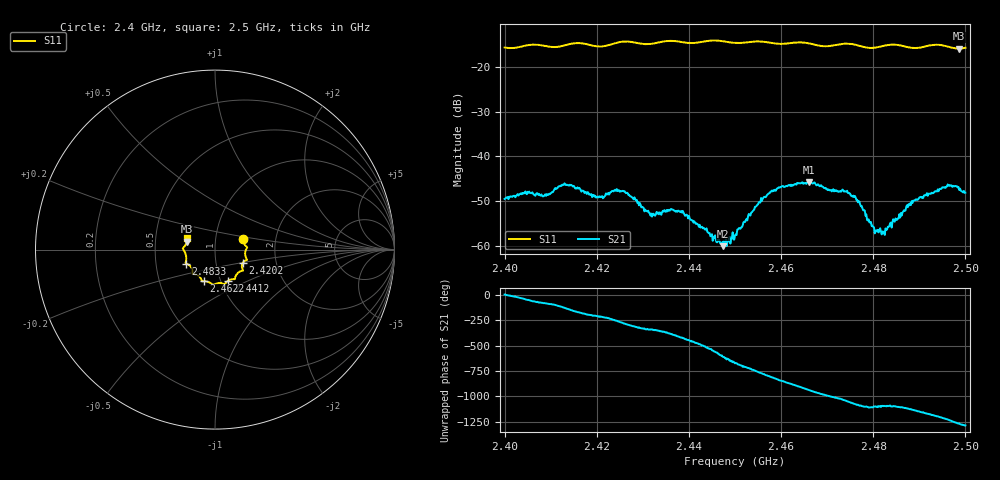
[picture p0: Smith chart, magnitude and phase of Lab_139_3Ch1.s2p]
# Hz S RI R 50
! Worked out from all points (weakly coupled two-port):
!   601 points, 2.4 GHz to 2.5 GHz, reference 50 ohm
!   highest |S21| = -45.76 dB at 2.466 GHz (marker M1); lowest = -60.1 dB at 2.4473 GHz (marker M2)
!   lowest |S11| = -15.8 dB at 2.4987 GHz (marker M3), VSWR 1.39, Z = 36.4 + j3.37 ohm
!   |S11| at or under -10 dB: start of sweep to end of sweep
!   S12 and S22 are empty: the file has one direction only
!   S11 on the Smith chart (normalised r, x): 2.4 GHz: 1.36, +0.16; 2.4202 GHz: 1.35, -0.20; 2.4412 GHz: 1.09, -0.39; 2.4622 GHz: 0.83, -0.30; 2.4833 GHz: 0.72, -0.12; 2.5 GHz: 0.73, +0.10
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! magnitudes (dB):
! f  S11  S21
! 2.4 GHz  -15.5  -49.5
! 2.4088 GHz  -15.2  -48.5
! 2.413 GHz  -15.1  -46.0
! 2.4167 GHz  -14.6  -47.9
! 2.4202 GHz  -15.3  -49.0
! 2.4257 GHz  -14.2  -47.7
! 2.4333 GHz  -14.4  -52.6
! 2.4382 GHz  -14.3  -52.5
! 2.4412 GHz  -14.5  -54.6
! 2.4473 GHz  -14.1  -60.1
! 2.45 GHz  -14.5  -57.7
! 2.4562 GHz  -14.3  -49.2
! 2.4622 GHz  -14.5  -46.3
! 2.466 GHz  -14.6  -45.8
! 2.4667 GHz  -14.8  -46.0
! 2.4757 GHz  -14.8  -48.8
! 2.4807 GHz  -15.5  -56.6
! 2.4833 GHz  -15.0  -55.8
! 2.4888 GHz  -15.7  -49.9
! 2.4963 GHz  -15.4  -46.6
! 2.4987 GHz  -15.8  -47.5
! 2.5 GHz  -15.6  -48.1
